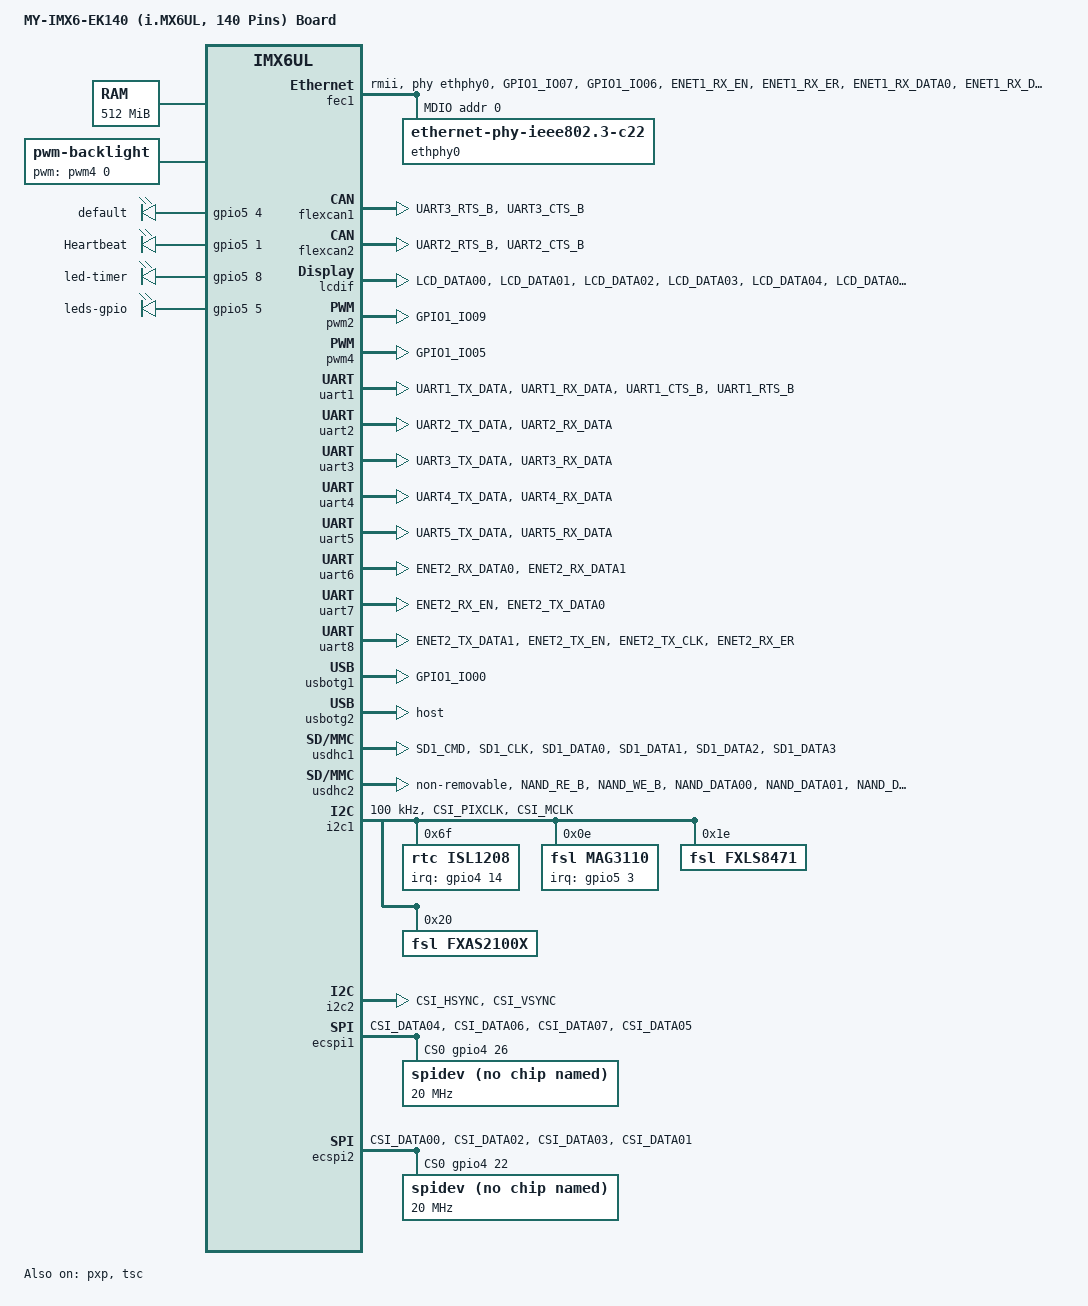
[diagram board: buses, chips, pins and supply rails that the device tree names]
/*
 * MYZR Technology Co.,Ltd
 * http://www.myzr.com.cn
 * Tang Bin <tangb@myzr.com.cn>
 */

/dts-v1/;

#include <dt-bindings/input/input.h>
#include "imx6ul.dtsi"

/ {
	model = "MY-IMX6-EK140 (i.MX6UL, 140 Pins) Board";
	compatible = "myzr,myimx6ek140", "fsl,imx6ul";

	chosen {
		stdout-path = &uart1;
	};

	memory {
		reg = <0x80000000 0x20000000>;
	};

	backlight {
		compatible = "pwm-backlight";
		pwms = <&pwm4 0 5000000>;
		brightness-levels = <0 4 8 16 32 64 128 255>;
		default-brightness-level = <4>;
		status = "okay";
	};

	pxp_v4l2 {
		compatible = "fsl,imx6ul-pxp-v4l2", "fsl,imx6sx-pxp-v4l2", "fsl,imx6sl-pxp-v4l2";
		status = "okay";
	};

	regulators {
		compatible = "simple-bus";
		#address-cells = <1>;
		#size-cells = <0>;
	};
	
	leds {
		compatible = "gpio-leds";
		pinctrl-names = "default";
		pinctrl-0 = <&pinctrl_gpio_leds>;
		
		led-default {
			label = "default";
			gpios = <&gpio5 4 0>;
			linux,default-trigger = "default-on";
			default-state = "on";
		};
		
		led-heartbeat {
			label = "Heartbeat";
			gpios = <&gpio5 1 0>;
			linux,default-trigger = "heartbeat";
		};
		
		led-timer {
			linux,default-trigger = "timer";
			gpios = <&gpio5 8 0>;
			default-state = "off";
		};
		
		led-gpio {
			label = "leds-gpio";
			gpios = <&gpio5 5 0>;
			linux,default-trigger = "gpio";
		};
	};
};

&cpu0 {
	arm-supply = <&reg_arm>;
	soc-supply = <&reg_soc>;
};

&clks {
	assigned-clocks = <&clks IMX6UL_CLK_PLL4_AUDIO_DIV>;
	assigned-clock-rates = <786432000>;
};

&fec1 {
	pinctrl-names = "default";
	pinctrl-0 = <&pinctrl_enet1>;
	phy-mode = "rmii";
	phy-handle = <&ethphy0>;
	status = "okay";
	
	mdio {
		#address-cells = <1>;
		#size-cells = <0>;

		ethphy0: ethernet-phy@0 {
			compatible = "ethernet-phy-ieee802.3-c22";
			reg = <0>;
		};
	};
};

&fec2 {
	status = "disabled";
};

&flexcan1 {
	pinctrl-names = "default";
	pinctrl-0 = <&pinctrl_flexcan1>;
	status = "okay";
};

&flexcan2 {
	pinctrl-names = "default";
	pinctrl-0 = <&pinctrl_flexcan2>;
	status = "okay";
};

&gpc {
	fsl,cpu_pupscr_sw2iso = <0x1>;
	fsl,cpu_pupscr_sw = <0x0>;
	fsl,cpu_pdnscr_iso2sw = <0x1>;
	fsl,cpu_pdnscr_iso = <0x1>;
	fsl,wdog-reset = <1>; /* watchdog select of reset source */
	fsl,ldo-bypass = <0>; /* DCDC, ldo-enable */
};

&lcdif {
	pinctrl-names = "default";
	pinctrl-0 = <&pinctrl_lcdif_dat
		     &pinctrl_lcdif_ctrl>;
	display = <&display0>;
	status = "okay";

	display0: display {
		bits-per-pixel = <16>;
		bus-width = <24>;

		display-timings {
			native-mode = <&timing0>;
			timing0: timing0 {
			clock-frequency = <9200000>;
			hactive = <480>;
			vactive = <272>;
			hfront-porch = <8>;
			hback-porch = <4>;
			hsync-len = <41>;
			vback-porch = <2>;
			vfront-porch = <4>;
			vsync-len = <10>;

			hsync-active = <0>;
			vsync-active = <0>;
			de-active = <1>;
			pixelclk-active = <0>;
			};
		};
	};
};

&pwm1 {
	clocks = <&clks IMX6UL_CLK_DUMMY>,
		<&clks IMX6UL_CLK_DUMMY>;
	status = "disabled";
};

&pwm2 {
	pinctrl-names = "default";
	pinctrl-0 = <&pinctrl_pwm2>;
	clocks = <&clks IMX6UL_CLK_PWM2>,
		<&clks IMX6UL_CLK_PWM2>;
	status = "okay";
};

&pwm4 {
	pinctrl-names = "default";
	pinctrl-0 = <&pinctrl_pwm4>;
	clocks = <&clks IMX6UL_CLK_PWM4>,
		<&clks IMX6UL_CLK_PWM4>;
	status = "okay";
};

&pxp {
	status = "okay";
};

&uart1 {
	pinctrl-names = "default";
	pinctrl-0 = <&pinctrl_uart1>;
	status = "okay";
};

&uart2 {
	pinctrl-names = "default";
	pinctrl-0 = <&pinctrl_uart2>;
	status = "okay";
};

&uart3 {
	pinctrl-names = "default";
	pinctrl-0 = <&pinctrl_uart3>;
	status = "okay";
};

&uart4 {
	pinctrl-names = "default";
	pinctrl-0 = <&pinctrl_uart4>;
	status = "okay";
};

&uart5 {
	pinctrl-names = "default";
	pinctrl-0 = <&pinctrl_uart5>;
	status = "okay";
};

&uart6 {
	pinctrl-names = "default";
	pinctrl-0 = <&pinctrl_uart6>;
	status = "okay";
};

&uart7 {
	pinctrl-names = "default";
	pinctrl-0 = <&pinctrl_uart7>;
	status = "okay";
};

&uart8 {
	pinctrl-names = "default";
	pinctrl-0 = <&pinctrl_uart8>;
	status = "okay";
};

&usbotg1 {
	pinctrl-names = "default";
	pinctrl-0 = <&pinctrl_usb_otg1_id>;
	status = "okay";
};

&usbotg2 {
	dr_mode = "host";
	disable-over-current;
	status = "okay";
};

&usdhc1 {
	pinctrl-names = "default";
	pinctrl-0 = <&pinctrl_usdhc1>;
	keep-power-in-suspend;
	enable-sdio-wakeup;
	status = "okay";
};

&usdhc2 {
	pinctrl-names = "default";
	pinctrl-0 = <&pinctrl_usdhc2>;
	no-1-8-v;
	non-removable;
	keep-power-in-suspend;
	enable-sdio-wakeup;
	status = "okay";
};

&i2c1 {
	clock-frequency = <100000>;
	pinctrl-names = "default";
	pinctrl-0 = <&pinctrl_i2c1>;
	status = "okay";

	isl1208@6f {
		compatible = "rtc,isl1208";
		reg = <0x6f>;
		interrupt-parent = <&gpio4>;
		interrupts = <14 0>;
	};
	
	mag3110@0e {
		compatible = "fsl,mag3110";
		reg = <0x0e>;
		position = <2>;
		interrupt-parent = <&gpio5>;
		interrupts = <3 1>;
	};

	fxls8471@1e {
		compatible = "fsl,fxls8471";
		reg = <0x1e>;
		position = <0>;
		/* interrupt-parent = <&gpio5>; */
		/* interrupts = <0 0>; */
	};

	fxas2100x@20 {
		compatible = "fsl,fxas2100x";
		reg = <0x20>;
	};
};

&i2c2 {
	clock_frequency = <100000>;
	pinctrl-names = "default";
	pinctrl-0 = <&pinctrl_i2c2>;
	status = "okay";
};

&tsc {
	pinctrl-names = "default";
	pinctrl-0 = <&pinctrl_tsc>;
	status = "okay";
	xnur-gpio = <&gpio1 3 0>;
	measure_delay_time = <0xffff>;
	pre_charge_time = <0xfff>;
};

&ecspi1 {
    fsl,spi-num-chipselects = <1>;
    cs-gpios = <&gpio4 26 0>;
    pinctrl-names = "default";
    pinctrl-0 = <&pinctrl_spi1 &pinctrl_spi1_cs0>;
    status = "okay";

	spidev@0 {
		compatible = "spidev";
		spi-max-frequency = <20000000>;
		reg = <0>;
	};
};

&ecspi2 {
    fsl,spi-num-chipselects = <1>;
    cs-gpios = <&gpio4 22 0>;
    pinctrl-names = "default";
    pinctrl-0 = <&pinctrl_spi2 &pinctrl_spi2_cs0>;
    status = "okay";

	spidev@0 {
		compatible = "spidev";
		spi-max-frequency = <20000000>;
		reg = <0>;
	};
};

&iomuxc {
	pinctrl-names = "default";
	pinctrl-0 = <&pinctrl_hog_1>;
	imx6ul-evk {
		pinctrl_hog_1: hoggrp-1 {
			fsl,pins = <
				MX6UL_PAD_GPIO1_IO08__WDOG1_WDOG_B	0x10b0
				
				MX6UL_PAD_SNVS_TAMPER3__GPIO5_IO03	0x80000000 /* GPIO */
				MX6UL_PAD_SNVS_TAMPER7__GPIO5_IO07	0x80000000 /* GPIO */	
				MX6UL_PAD_SNVS_TAMPER9__GPIO5_IO09	0x80000000 /* GPIO */
				MX6UL_PAD_SNVS_TAMPER0__GPIO5_IO00	0x80000000 /* FXLS8471Q */
				MX6UL_PAD_NAND_CE1_B__GPIO4_IO14	0x80000000 /* RTC_nRQ */
			>;
		};
		
		pinctrl_gpio_leds: gpio_ledsgrp {
			fsl,pins = <
				MX6UL_PAD_SNVS_TAMPER4__GPIO5_IO04	0x80000000
				MX6UL_PAD_SNVS_TAMPER1__GPIO5_IO01	0x80000000
				MX6UL_PAD_SNVS_TAMPER8__GPIO5_IO08	0x80000000
				MX6UL_PAD_SNVS_TAMPER5__GPIO5_IO05	0x80000000
			>;
		};
		
		pinctrl_enet1: enet1grp {
			fsl,pins = <
				MX6UL_PAD_GPIO1_IO07__ENET1_MDC		0x1b0b0
				MX6UL_PAD_GPIO1_IO06__ENET1_MDIO	0x1b0b0
				MX6UL_PAD_ENET1_RX_EN__ENET1_RX_EN	0x1b0b0
				MX6UL_PAD_ENET1_RX_ER__ENET1_RX_ER	0x1b0b0
				MX6UL_PAD_ENET1_RX_DATA0__ENET1_RDATA00	0x1b0b0
				MX6UL_PAD_ENET1_RX_DATA1__ENET1_RDATA01	0x1b0b0
				MX6UL_PAD_ENET1_TX_EN__ENET1_TX_EN	0x1b0b0
				MX6UL_PAD_ENET1_TX_DATA0__ENET1_TDATA00	0x1b0b0
				MX6UL_PAD_ENET1_TX_DATA1__ENET1_TDATA01	0x1b0b0
				MX6UL_PAD_ENET1_TX_CLK__ENET1_REF_CLK1	0x4001b031
				MX6UL_PAD_SNVS_TAMPER2__GPIO5_IO02	0x80000000 /* INT */
				MX6UL_PAD_SNVS_TAMPER6__GPIO5_IO06	0x80000000 /* RST */
			>;
		};
		
		pinctrl_usb_otg1_id: usbotg1idgrp {
			fsl,pins = <
				MX6UL_PAD_GPIO1_IO00__ANATOP_OTG1_ID	0x17059
			>;
		};
		
		pinctrl_flexcan1: flexcan1grp{
			fsl,pins = <
				MX6UL_PAD_UART3_RTS_B__FLEXCAN1_RX	0x1b020
				MX6UL_PAD_UART3_CTS_B__FLEXCAN1_TX	0x1b020
			>;
		};

		pinctrl_flexcan2: flexcan2grp{
			fsl,pins = <
				MX6UL_PAD_UART2_RTS_B__FLEXCAN2_RX	0x1b020
				MX6UL_PAD_UART2_CTS_B__FLEXCAN2_TX	0x1b020
			>;
		};

		pinctrl_lcdif_dat: lcdifdatgrp {
			fsl,pins = <
				MX6UL_PAD_LCD_DATA00__LCDIF_DATA00  0x79
				MX6UL_PAD_LCD_DATA01__LCDIF_DATA01  0x79
				MX6UL_PAD_LCD_DATA02__LCDIF_DATA02  0x79
				MX6UL_PAD_LCD_DATA03__LCDIF_DATA03  0x79
				MX6UL_PAD_LCD_DATA04__LCDIF_DATA04  0x79
				MX6UL_PAD_LCD_DATA05__LCDIF_DATA05  0x79
				MX6UL_PAD_LCD_DATA06__LCDIF_DATA06  0x79
				MX6UL_PAD_LCD_DATA07__LCDIF_DATA07  0x79
				MX6UL_PAD_LCD_DATA08__LCDIF_DATA08  0x79
				MX6UL_PAD_LCD_DATA09__LCDIF_DATA09  0x79
				MX6UL_PAD_LCD_DATA10__LCDIF_DATA10  0x79
				MX6UL_PAD_LCD_DATA11__LCDIF_DATA11  0x79
				MX6UL_PAD_LCD_DATA12__LCDIF_DATA12  0x79
				MX6UL_PAD_LCD_DATA13__LCDIF_DATA13  0x79
				MX6UL_PAD_LCD_DATA14__LCDIF_DATA14  0x79
				MX6UL_PAD_LCD_DATA15__LCDIF_DATA15  0x79
				MX6UL_PAD_LCD_DATA16__LCDIF_DATA16  0x79
				MX6UL_PAD_LCD_DATA17__LCDIF_DATA17  0x79
				MX6UL_PAD_LCD_DATA18__LCDIF_DATA18  0x79
				MX6UL_PAD_LCD_DATA19__LCDIF_DATA19  0x79
				MX6UL_PAD_LCD_DATA20__LCDIF_DATA20  0x79
				MX6UL_PAD_LCD_DATA21__LCDIF_DATA21  0x79
				MX6UL_PAD_LCD_DATA22__LCDIF_DATA22  0x79
				MX6UL_PAD_LCD_DATA23__LCDIF_DATA23  0x79
			>;
		};

		pinctrl_lcdif_ctrl: lcdifctrlgrp {
			fsl,pins = <
				MX6UL_PAD_LCD_CLK__LCDIF_CLK	    0x79
				MX6UL_PAD_LCD_ENABLE__LCDIF_ENABLE  0x79
				MX6UL_PAD_LCD_HSYNC__LCDIF_HSYNC    0x79
				MX6UL_PAD_LCD_VSYNC__LCDIF_VSYNC    0x79
			>;
		};

		pinctrl_pwm2: pwm2grp {
			fsl,pins = <
				MX6UL_PAD_GPIO1_IO09__PWM2_OUT		0x110b0
			>;
		};
		pinctrl_pwm4: pwm4grp {
			fsl,pins = <
				MX6UL_PAD_GPIO1_IO05__PWM4_OUT		0x110b0
			>;
		};
		pinctrl_pwm5: pwm5grp {
			fsl,pins = <
				MX6UL_PAD_NAND_DQS__PWM5_OUT		0x110b0
			>;
		};

		pinctrl_uart1: uart1grp {
			fsl,pins = <
				MX6UL_PAD_UART1_TX_DATA__UART1_DCE_TX	0x1b0b1
				MX6UL_PAD_UART1_RX_DATA__UART1_DCE_RX	0x1b0b1
				MX6UL_PAD_UART1_CTS_B__UART1_DCE_CTS	0x1b0b1
				MX6UL_PAD_UART1_RTS_B__UART1_DCE_RTS	0x1b0b1
			>;
		};
		pinctrl_uart2: uart2grp {
			fsl,pins = <
				MX6UL_PAD_UART2_TX_DATA__UART2_DCE_TX	0x1b0b1
				MX6UL_PAD_UART2_RX_DATA__UART2_DCE_RX	0x1b0b1
			>;
		};
		pinctrl_uart3: uart3grp {
			fsl,pins = <
				MX6UL_PAD_UART3_TX_DATA__UART3_DCE_TX	0x1b0b1
				MX6UL_PAD_UART3_RX_DATA__UART3_DCE_RX	0x1b0b1
			>;
		};
		pinctrl_uart4: uart4grp {
			fsl,pins = <
				MX6UL_PAD_UART4_TX_DATA__UART4_DCE_TX	0x1b0b1
				MX6UL_PAD_UART4_RX_DATA__UART4_DCE_RX	0x1b0b1
			>;
		};
		pinctrl_uart5: uart5grp {
			fsl,pins = <
				MX6UL_PAD_UART5_TX_DATA__UART5_DCE_TX	0x1b0b1
				MX6UL_PAD_UART5_RX_DATA__UART5_DCE_RX	0x1b0b1
			>;
		};
		pinctrl_uart6: uart6grp {
			fsl,pins = <
				MX6UL_PAD_ENET2_RX_DATA0__UART6_DCE_TX	0x1b0b1
				MX6UL_PAD_ENET2_RX_DATA1__UART6_DCE_RX	0x1b0b1
			>;
		};
		pinctrl_uart7: uart7grp {
			fsl,pins = <
				MX6UL_PAD_ENET2_RX_EN__UART7_DCE_TX		0x1b0b1
				MX6UL_PAD_ENET2_TX_DATA0__UART7_DCE_RX	0x1b0b1
			>;
		};
		pinctrl_uart8: uart8grp {
			fsl,pins = <
				MX6UL_PAD_ENET2_TX_DATA1__UART8_DCE_TX	0x1b0b1
				MX6UL_PAD_ENET2_TX_EN__UART8_DCE_RX		0x1b0b1
				MX6UL_PAD_ENET2_TX_CLK__UART8_DCE_CTS	0x1b0b1
				MX6UL_PAD_ENET2_RX_ER__UART8_DCE_RTS	0x1b0b1
			>;
		};

		pinctrl_usdhc1: usdhc1grp {
			fsl,pins = <
				MX6UL_PAD_SD1_CMD__USDHC1_CMD     0x17059
				MX6UL_PAD_SD1_CLK__USDHC1_CLK     0x10071
				MX6UL_PAD_SD1_DATA0__USDHC1_DATA0 0x17059
				MX6UL_PAD_SD1_DATA1__USDHC1_DATA1 0x17059
				MX6UL_PAD_SD1_DATA2__USDHC1_DATA2 0x17059
				MX6UL_PAD_SD1_DATA3__USDHC1_DATA3 0x17059
			>;
		};

		pinctrl_usdhc2: usdhc2grp {
			fsl,pins = <
				MX6UL_PAD_NAND_RE_B__USDHC2_CLK     0x10069
				MX6UL_PAD_NAND_WE_B__USDHC2_CMD     0x17059
				MX6UL_PAD_NAND_DATA00__USDHC2_DATA0 0x17059
				MX6UL_PAD_NAND_DATA01__USDHC2_DATA1 0x17059
				MX6UL_PAD_NAND_DATA02__USDHC2_DATA2 0x17059
				MX6UL_PAD_NAND_DATA03__USDHC2_DATA3 0x17059
				MX6UL_PAD_NAND_DATA04__USDHC2_DATA4 0x17059
				MX6UL_PAD_NAND_DATA05__USDHC2_DATA5 0x17059
				MX6UL_PAD_NAND_DATA06__USDHC2_DATA6 0x17059
				MX6UL_PAD_NAND_DATA07__USDHC2_DATA7 0x17059
			>;
		};

		pinctrl_i2c1: i2c1grp {
			fsl,pins = <
				MX6UL_PAD_CSI_PIXCLK__I2C1_SCL	0x4001b8b0
				MX6UL_PAD_CSI_MCLK__I2C1_SDA	0x4001b8b0
			>;
		};

		pinctrl_i2c2: i2c2grp {
			fsl,pins = <
				MX6UL_PAD_CSI_HSYNC__I2C2_SCL	0x4001b8b0
				MX6UL_PAD_CSI_VSYNC__I2C2_SDA	0x4001b8b0
			>;
		};

		pinctrl_spi1_cs0: spi1cs0grp {
			fsl,pins = <
				MX6UL_PAD_CSI_DATA05__GPIO4_IO26	0x10b0
			>;
		};
		pinctrl_spi1: spi1grp {
			fsl,pins = <
				MX6UL_PAD_CSI_DATA04__ECSPI1_SCLK	0x10b0
				MX6UL_PAD_CSI_DATA06__ECSPI1_MOSI	0x10b0
				MX6UL_PAD_CSI_DATA07__ECSPI1_MISO	0x10b0
			>;
		};
		pinctrl_spi2_cs0: spi2cs0grp {
			fsl,pins = <
				MX6UL_PAD_CSI_DATA01__GPIO4_IO22	0x10b0
			>;
		};
		pinctrl_spi2: spi2grp {
			fsl,pins = <
				MX6UL_PAD_CSI_DATA00__ECSPI2_SCLK	0x10b0
				MX6UL_PAD_CSI_DATA02__ECSPI2_MOSI	0x10b0
				MX6UL_PAD_CSI_DATA03__ECSPI2_MISO	0x10b0
			>;
		};
		
		pinctrl_tsc: tscgrp {
			fsl,pins = <
				MX6UL_PAD_GPIO1_IO01__GPIO1_IO01	0xb0
				MX6UL_PAD_GPIO1_IO02__GPIO1_IO02	0xb0
				MX6UL_PAD_GPIO1_IO03__GPIO1_IO03	0xb0
				MX6UL_PAD_GPIO1_IO04__GPIO1_IO04	0xb0
			>;
		};
	};
};
